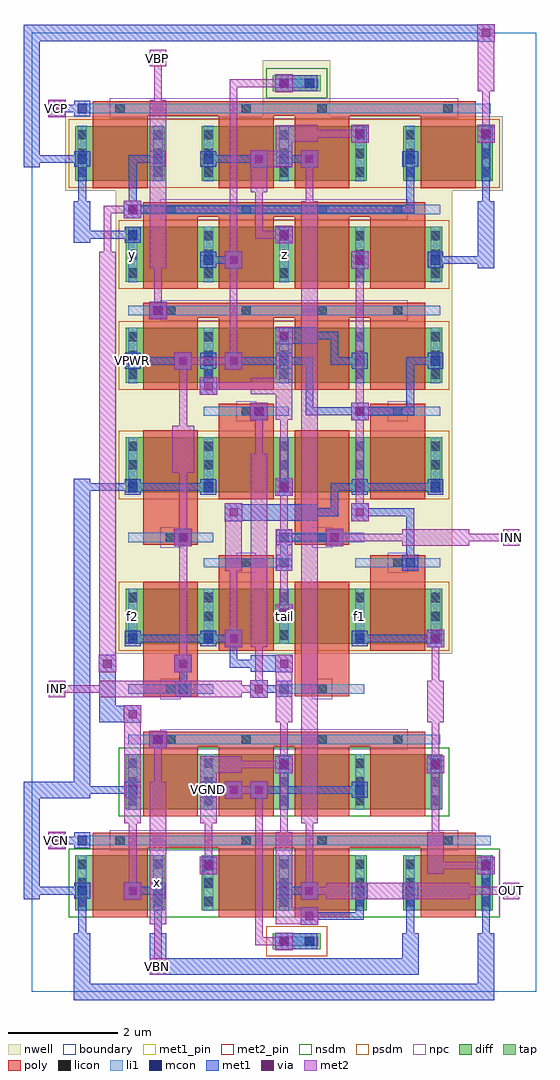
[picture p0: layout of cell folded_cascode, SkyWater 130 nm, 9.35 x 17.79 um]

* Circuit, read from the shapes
.subckt folded_cascode INN INP OUT VBN VBP VCN VCP VGND VPWR f1 f2 tail x y z
XM1 x VCN f1 VGND sky130_fd_pr__nfet_01v8 w=1 l=1 m=2
XM2 VGND VBN f1 VGND sky130_fd_pr__nfet_01v8 w=1 l=1 m=2
XM3 OUT VCN f2 VGND sky130_fd_pr__nfet_01v8 w=1 l=1 m=2
XM4 f2 VBN VGND VGND sky130_fd_pr__nfet_01v8 w=1 l=1 m=2
XM5 x VCP y VPWR sky130_fd_pr__pfet_01v8 w=1 l=1 m=2
XM6 f2 VPWR f2 VPWR sky130_fd_pr__pfet_01v8 w=1 l=1 m=2
XM7 f1 VPWR f1 VPWR sky130_fd_pr__pfet_01v8 w=1 l=1 m=2
XM8 tail VBP VPWR VPWR sky130_fd_pr__pfet_01v8 w=1 l=1 m=4
XM9 VPWR x y VPWR sky130_fd_pr__pfet_01v8 w=1 l=1 m=2
XM10 tail INN f2 VPWR sky130_fd_pr__pfet_01v8 w=1 l=1 m=2
XM11 tail INP f1 VPWR sky130_fd_pr__pfet_01v8 w=1 l=1 m=2
XM12 z x VPWR VPWR sky130_fd_pr__pfet_01v8 w=1 l=1 m=2
XM13 OUT VCP z VPWR sky130_fd_pr__pfet_01v8 w=1 l=1 m=2
.ends

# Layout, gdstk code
import gdstk
lib = gdstk.Library(unit=1e-6, precision=1e-09)
def R(c, l, rs):  # rectangles x0, y0, x1, y1
    for r in rs: c.add(gdstk.rectangle(r[:2], r[2:], *l))
def A(c, l, x, y, w, h, nx, ny, dx, dy):  # array of equal rectangles
    R(c, l, [(x+i*dx, y+j*dy, x+i*dx+w, y+j*dy+h) for i in range(nx) for j in range(ny)])
nwell = (64, 20)
diff = (65, 20)
tap = (65, 44)
poly = (66, 20)
licon = (66, 44)
li1 = (67, 20)
mcon = (67, 44)
met1_pin = (68, 16)
met1 = (68, 20)
via = (68, 44)
met2_pin = (69, 16)
met2 = (69, 20)
nsdm = (93, 44)
psdm = (94, 20)
npc = (95, 20)
boundary = (235, 4)

folded_cascode = lib.new_cell('folded_cascode')
R(folded_cascode, nwell, [(1.535,6.165,7.665,14.6), (0.615,14.6,8.585,15.96), (4.215,15.96,5.445,16.98)])
R(folded_cascode, diff, [(0.795,1.485,2.425,2.485), (3.095,1.485,6.105,2.485), (6.775,1.485,8.405,2.485), (1.715,3.325,7.485,4.325), (1.715,6.345,7.485,7.345), (1.715,9.105,7.485,10.105), (1.715,11.1,7.485,12.1), (1.715,12.94,7.485,13.94), (0.795,14.78,2.425,15.78), (3.095,14.78,6.105,15.78), (6.775,14.78,8.405,15.78)])
R(folded_cascode, tap, [(4.395,0.775,5.265,1.065), (4.395,16.415,5.265,16.705)])
A(folded_cascode, poly, 2.03, 3.195, 1, 1.405, 4, 1, 1.38, 0)
A(folded_cascode, poly, 2.03, 10.97, 1, 1.45, 4, 2, 1.38, 1.84)
R(folded_cascode, poly, [(1.11,1.355,2.11,2.76), (3.41,1.355,4.41,2.76), (4.79,1.355,5.79,2.76), (7.09,1.355,8.09,2.76), (1.11,2.625,8.09,2.895), (2.03,4.465,7.17,4.735), (2.03,5.385,3.03,5.655), (4.79,5.385,5.79,5.655), (2.03,5.52,3.03,7.475), (4.79,5.52,5.79,7.475), (3.41,6.215,4.41,7.82), (6.17,6.215,7.17,7.82), (3.41,7.685,4.41,7.955), (6.17,7.685,7.17,7.955), (2.03,8.145,3.03,8.415), (4.79,8.145,5.79,8.415), (2.03,8.28,3.03,10.235), (4.79,8.28,5.79,10.235), (3.41,8.975,4.41,10.58), (6.17,8.975,7.17,10.58), (3.41,10.445,4.41,10.715), (6.17,10.445,7.17,10.715), (2.03,12.285,7.17,12.555), (2.03,14.125,7.17,14.395), (1.11,14.65,2.11,16.1), (3.41,14.65,4.41,16.1), (4.79,14.65,5.79,16.1), (7.09,14.65,8.09,16.1), (1.11,15.965,8.09,16.235)])
A(folded_cascode, licon, 0.835, 1.56, 0.17, 0.17, 1, 3, 0, 0.34)
A(folded_cascode, licon, 2.215, 1.56, 0.17, 0.17, 1, 3, 0, 0.34)
A(folded_cascode, licon, 3.135, 1.56, 0.17, 0.17, 3, 3, 1.38, 0.34)
A(folded_cascode, licon, 6.815, 1.56, 0.17, 0.17, 1, 3, 0, 0.34)
A(folded_cascode, licon, 8.195, 1.56, 0.17, 0.17, 1, 3, 0, 0.34)
A(folded_cascode, licon, 5.205, 2.675, 0.17, 0.17, 1, 3, 0, 2.76)
A(folded_cascode, licon, 1.755, 3.4, 0.17, 0.17, 5, 3, 1.38, 0.34)
A(folded_cascode, licon, 2.445, 4.515, 0.17, 0.17, 4, 2, 1.38, 7.82)
A(folded_cascode, licon, 1.755, 6.42, 0.17, 0.17, 5, 3, 1.38, 0.34)
A(folded_cascode, licon, 1.755, 9.18, 0.17, 0.17, 5, 3, 1.38, 0.34)
A(folded_cascode, licon, 1.755, 11.175, 0.17, 0.17, 5, 3, 1.38, 0.34)
A(folded_cascode, licon, 1.755, 13.015, 0.17, 0.17, 5, 3, 1.38, 0.34)
A(folded_cascode, licon, 2.445, 14.175, 0.17, 0.17, 4, 1, 1.38, 0)
A(folded_cascode, licon, 0.835, 14.855, 0.17, 0.17, 1, 3, 0, 0.34)
A(folded_cascode, licon, 2.215, 14.855, 0.17, 0.17, 1, 3, 0, 0.34)
A(folded_cascode, licon, 3.135, 14.855, 0.17, 0.17, 3, 3, 1.38, 0.34)
A(folded_cascode, licon, 6.815, 14.855, 0.17, 0.17, 1, 3, 0, 0.34)
A(folded_cascode, licon, 8.195, 14.855, 0.17, 0.17, 1, 3, 0, 0.34)
R(folded_cascode, licon, [(4.515,0.835,4.685,1.005), (4.975,0.835,5.145,1.005), (1.525,2.675,1.695,2.845), (3.825,2.675,3.995,2.845), (7.505,2.675,7.675,2.845), (2.445,5.435,2.615,5.605), (3.825,7.735,3.995,7.905), (6.585,7.735,6.755,7.905), (2.445,8.195,2.615,8.365), (3.825,10.495,3.995,10.665), (6.585,10.495,6.755,10.665), (1.525,16.015,1.695,16.185), (3.825,16.015,3.995,16.185), (5.205,16.015,5.375,16.185), (7.505,16.015,7.675,16.185), (4.515,16.475,4.685,16.645), (4.975,16.475,5.145,16.645)])
A(folded_cascode, li1, 3.135, 1.48, 0.17, 1.01, 3, 2, 1.38, 13.295)
A(folded_cascode, li1, 1.755, 3.32, 0.17, 1.01, 5, 2, 1.38, 3.02)
A(folded_cascode, li1, 1.755, 9.1, 0.17, 1.01, 5, 2, 1.38, 1.995)
A(folded_cascode, li1, 1.755, 12.935, 0.17, 1.01, 5, 1, 1.38, 0)
R(folded_cascode, li1, [(4.435,0.835,5.225,1.005), (0.835,1.48,1.005,2.49), (2.215,1.48,2.385,2.49), (6.815,1.48,6.985,2.49), (8.195,1.48,8.365,2.49), (0.835,2.675,8.365,2.845), (1.755,4.515,7.445,4.685), (1.755,5.435,3.305,5.605), (4.515,5.435,6.065,5.605), (3.135,7.735,4.685,7.905), (5.895,7.735,7.445,7.905), (1.755,8.195,3.305,8.365), (4.515,8.195,6.065,8.365), (3.135,10.495,4.685,10.665), (5.895,10.495,7.445,10.665), (1.755,12.335,7.445,12.505), (1.755,14.175,7.445,14.345), (0.835,14.775,1.005,15.785), (2.215,14.775,2.385,15.785), (6.815,14.775,6.985,15.785), (8.195,14.775,8.365,15.785), (0.835,16.015,8.365,16.185), (4.435,16.475,5.225,16.645)])
A(folded_cascode, mcon, 4.515, 4.055, 0.17, 0.17, 1, 3, 0, 1.38)
A(folded_cascode, mcon, 1.755, 9.115, 0.17, 0.17, 5, 2, 1.38, 2.3)
A(folded_cascode, mcon, 4.515, 13.715, 0.17, 0.17, 1, 3, 0, 1.38)
R(folded_cascode, mcon, [(4.515,0.835,4.685,1.005), (4.975,0.835,5.145,1.005), (0.835,1.755,1.005,1.925), (2.215,1.755,2.385,1.925), (4.515,1.755,4.685,1.925), (5.895,1.755,6.065,1.925), (6.815,1.755,6.985,1.925), (3.135,2.215,3.305,2.385), (8.195,2.215,8.365,2.385), (0.835,2.675,1.005,2.845), (1.755,3.595,1.925,3.765), (3.135,3.595,3.305,3.765), (5.895,3.595,6.065,3.765), (7.275,4.055,7.445,4.225), (2.215,4.515,2.385,4.685), (2.675,5.435,2.845,5.605), (1.755,6.355,1.925,6.525), (3.135,6.355,3.305,6.525), (5.895,6.355,6.065,6.525), (7.275,6.355,7.445,6.525), (4.515,7.735,4.685,7.905), (6.815,7.735,6.985,7.905), (2.675,8.195,2.845,8.365), (4.515,8.195,4.685,8.365), (4.055,10.495,4.225,10.665), (5.895,10.495,6.065,10.665), (2.215,12.335,2.385,12.505), (3.135,13.255,3.305,13.425), (5.895,13.255,6.065,13.425), (7.275,13.255,7.445,13.425), (1.755,13.715,1.925,13.885), (1.755,14.175,1.925,14.345), (0.835,15.095,1.005,15.265), (2.215,15.095,2.385,15.265), (3.135,15.095,3.305,15.265), (6.815,15.095,6.985,15.265), (5.895,15.555,6.065,15.725), (8.195,15.555,8.365,15.725), (0.835,16.015,1.005,16.185), (4.975,16.475,5.145,16.645)])
R(folded_cascode, met1_pin, [(3.075,3.535,3.365,3.825), (1.695,11.355,1.985,11.645)])
A(folded_cascode, met1, 4.455, 3.995, 0.29, 0.29, 1, 3, 0, 1.38)
A(folded_cascode, met1, 1.695, 9.055, 0.29, 0.29, 5, 2, 1.38, 2.3)
R(folded_cascode, met1, [(0.77,-0.15,8.43,0.15), (0.77,-0.15,1.07,1.07), (8.13,-0.15,8.43,1.07), (2.15,0.31,7.05,0.61), (2.15,0.31,2.45,1.07), (6.75,0.31,7.05,1.07), (4.44,0.76,4.76,1.08), (4.455,0.775,5.205,1.065), (0.85,0.85,0.99,1.91), (2.23,0.85,2.37,1.91), (4.53,0.85,4.67,0.99), (6.83,0.85,6.97,1.91), (8.21,0.85,8.35,2.37), (4.9,1.22,5.22,1.54), (4.99,1.31,6.05,1.45), (5.91,1.31,6.05,1.91), (1.68,1.68,2,2), (4.9,1.68,5.22,2), (-0.15,1.69,0.15,3.83), (0.775,1.695,1.065,1.985), (2.155,1.695,2.445,1.985), (4.455,1.695,4.745,1.985), (5.835,1.695,6.125,1.985), (6.755,1.695,7.045,1.985), (-0.07,1.77,0.99,1.91), (1.77,1.77,2.37,1.91), (4.53,1.77,5.13,1.91), (3.06,2.14,3.38,2.46), (8.12,2.14,8.44,2.46), (3.075,2.155,3.365,2.445), (8.135,2.155,8.425,2.445), (0.3,2.6,0.62,2.92), (0.775,2.615,1.065,2.905), (0.39,2.69,0.99,2.83), (3.52,3.52,3.84,3.84), (3.98,3.52,4.3,3.84), (-0.15,3.53,1.07,3.83), (0.77,3.53,1.07,9.35), (1.695,3.535,1.985,3.825), (3.075,3.535,3.365,3.825), (5.835,3.535,6.125,3.825), (0.85,3.61,1.91,3.75), (3.15,3.61,3.75,3.75), (4.07,3.61,6.05,3.75), (4.44,3.98,4.76,4.3), (7.2,3.98,7.52,4.3), (7.215,3.995,7.505,4.285), (2.14,4.44,2.46,4.76), (2.155,4.455,2.445,4.745), (1.68,4.9,2,5.22), (1.23,4.91,1.99,5.21), (1.23,4.91,1.53,6.13), (3.98,5.36,4.3,5.68), (2.615,5.375,2.905,5.665), (2.69,5.45,2.83,6.05), (4.07,5.45,4.67,5.59), (1.22,5.82,1.54,6.14), (2.6,5.82,2.92,6.14), (4.44,5.82,4.76,6.14), (3.99,5.83,4.75,6.13), (3.61,5.91,4.21,6.05), (3.61,5.91,3.75,6.51), (3.52,6.28,3.84,6.6), (7.2,6.28,7.52,6.6), (1.695,6.295,1.985,6.585), (3.075,6.295,3.365,6.585), (5.835,6.295,6.125,6.585), (7.215,6.295,7.505,6.585), (1.77,6.37,3.29,6.51), (3.15,6.37,3.75,6.51), (5.91,6.37,7.43,6.51), (4.44,6.74,4.76,7.06), (4.455,7.675,4.745,7.965), (6.755,7.675,7.045,7.965), (4.53,7.75,4.67,8.35), (6.83,7.75,6.97,8.81), (2.6,8.12,2.92,8.44), (5.36,8.12,5.68,8.44), (2.615,8.135,2.905,8.425), (4.455,8.135,4.745,8.425), (4.53,8.21,5.59,8.35), (3.52,8.58,3.84,8.9), (5.82,8.58,6.14,8.9), (3.53,8.59,5.21,8.89), (4.99,8.67,5.59,8.81), (5.45,8.67,5.59,9.27), (5.91,8.67,6.97,8.81), (4.44,9.04,4.76,9.36), (0.85,9.13,1.91,9.27), (1.77,9.13,3.29,9.27), (5.45,9.13,6.05,9.27), (5.91,9.13,7.43,9.27), (3.98,10.42,4.3,10.74), (5.82,10.42,6.14,10.74), (3.995,10.435,4.285,10.725), (5.835,10.435,6.125,10.725), (4.99,10.51,6.05,10.65), (4.99,10.51,5.13,11.57), (5.91,10.51,6.97,10.65), (6.83,10.51,6.97,11.57), (3.06,10.88,3.38,11.2), (3.15,10.97,3.29,11.57), (2.6,11.34,2.92,11.66), (3.52,11.34,3.84,11.66), (1.77,11.43,2.83,11.57), (3.61,11.43,4.67,11.57), (4.53,11.43,5.13,11.57), (5.45,11.43,6.05,11.57), (5.45,11.43,5.59,12.03), (6.83,11.43,7.43,11.57), (4.44,11.8,4.76,12.12), (4.45,11.81,5.21,12.11), (4.99,11.89,5.59,12.03), (2.14,12.26,2.46,12.58), (2.155,12.275,2.445,12.565), (3.52,13.18,3.84,13.5), (5.82,13.18,6.14,13.5), (8.13,13.19,8.43,14.41), (3.075,13.195,3.365,13.485), (5.835,13.195,6.125,13.485), (7.215,13.195,7.505,13.485), (3.15,13.27,3.75,13.41), (7.29,13.27,8.35,13.41), (4.44,13.64,4.76,13.96), (0.77,13.65,1.07,14.41), (1.695,13.655,1.985,13.945), (4.455,13.655,4.745,13.945), (0.85,13.73,1.91,13.87), (1.68,14.1,2,14.42), (1.695,14.115,1.985,14.405), (0.85,14.19,0.99,15.25), (1.77,14.19,1.91,15.25), (1.77,14.19,6.97,14.33), (6.83,14.19,6.97,15.25), (8.21,14.19,8.35,15.71), (3.98,15.02,4.3,15.34), (4.9,15.02,5.22,15.34), (-0.15,15.03,0.15,17.63), (0.775,15.035,1.065,15.325), (2.155,15.035,2.445,15.325), (3.075,15.035,3.365,15.325), (4.455,15.035,4.745,15.325), (6.755,15.035,7.045,15.325), (-0.07,15.11,0.99,15.25), (1.77,15.11,2.37,15.25), (3.15,15.11,4.21,15.25), (4.53,15.11,5.13,15.25), (5.82,15.48,6.14,15.8), (8.12,15.48,8.44,15.8), (5.835,15.495,6.125,15.785), (8.135,15.495,8.425,15.785), (0.3,15.94,0.62,16.26), (0.775,15.955,1.065,16.245), (0.39,16.03,0.99,16.17), (4.44,16.4,4.76,16.72), (4.455,16.415,5.205,16.705), (4.53,16.49,4.67,16.63), (8.12,17.32,8.44,17.64), (-0.15,17.33,8.43,17.63)])
R(folded_cascode, via, [(4.525,0.845,4.675,0.995), (4.985,1.305,5.135,1.455), (1.765,1.765,1.915,1.915), (4.985,1.765,5.135,1.915), (3.145,2.225,3.295,2.375), (8.205,2.225,8.355,2.375), (0.385,2.685,0.535,2.835), (3.605,3.605,3.755,3.755), (4.065,3.605,4.215,3.755), (4.525,4.065,4.675,4.215), (7.285,4.065,7.435,4.215), (2.225,4.525,2.375,4.675), (1.765,4.985,1.915,5.135), (4.065,5.445,4.215,5.595), (1.305,5.905,1.455,6.055), (2.685,5.905,2.835,6.055), (4.525,5.905,4.675,6.055), (3.605,6.365,3.755,6.515), (7.285,6.365,7.435,6.515), (4.525,6.825,4.675,6.975), (2.685,8.205,2.835,8.355), (5.445,8.205,5.595,8.355), (3.605,8.665,3.755,8.815), (5.905,8.665,6.055,8.815), (4.525,9.125,4.675,9.275), (4.065,10.505,4.215,10.655), (5.905,10.505,6.055,10.655), (3.145,10.965,3.295,11.115), (2.685,11.425,2.835,11.575), (3.605,11.425,3.755,11.575), (4.525,11.885,4.675,12.035), (2.225,12.345,2.375,12.495), (3.605,13.265,3.755,13.415), (5.905,13.265,6.055,13.415), (4.525,13.725,4.675,13.875), (1.765,14.185,1.915,14.335), (4.065,15.105,4.215,15.255), (4.985,15.105,5.135,15.255), (5.905,15.565,6.055,15.715), (8.205,15.565,8.355,15.715), (0.385,16.025,0.535,16.175), (4.525,16.485,4.675,16.635), (8.205,17.405,8.355,17.555)])
R(folded_cascode, met2_pin, [(2.15,0.31,2.45,0.61), (8.59,1.69,8.89,1.99), (0.31,2.61,0.61,2.91), (0.31,5.37,0.61,5.67), (8.59,8.13,8.89,8.43), (0.31,15.95,0.61,16.25), (2.15,16.87,2.45,17.17)])
A(folded_cascode, met2, 4.07, 5.45, 0.14, 1.06, 1, 3, 0, 4.14)
R(folded_cascode, met2, [(2.15,0.31,2.45,0.61), (2.23,0.39,2.37,1.45), (2.23,0.39,2.37,0.53), (4.44,0.76,4.76,1.08), (4.07,0.85,4.67,0.99), (4.07,0.85,4.21,3.75), (4.9,1.22,5.22,1.54), (2.15,1.23,2.45,3.83), (4.45,1.23,5.21,1.53), (4.45,1.23,4.75,2.91), (1.68,1.68,2,2), (4.9,1.68,5.22,2), (5.37,1.69,7.97,1.99), (8.59,1.69,8.89,1.99), (1.77,1.77,1.91,3.29), (4.99,1.77,5.13,3.29), (4.99,1.77,5.59,1.91), (7.75,1.77,8.81,1.91), (8.67,1.77,8.81,1.91), (3.06,2.14,3.38,2.46), (8.12,2.14,8.44,2.46), (7.21,2.15,7.51,2.91), (3.15,2.23,3.29,3.29), (7.29,2.23,8.35,2.37), (0.3,2.6,0.62,2.92), (0.31,2.61,0.61,2.91), (0.39,2.69,0.53,2.83), (4.53,2.69,4.67,4.21), (7.29,2.69,7.43,4.21), (1.69,3.07,1.99,5.21), (3.07,3.07,3.37,4.29), (4.91,3.07,5.21,14.41), (3.52,3.52,3.84,3.84), (3.98,3.52,4.3,3.84), (2.23,3.61,2.37,4.67), (3.61,3.61,4.21,3.75), (4.44,3.98,4.76,4.3), (7.2,3.98,7.52,4.3), (3.07,3.99,3.83,4.29), (3.61,4.07,4.67,4.21), (4.53,4.07,4.67,5.13), (7.29,4.07,7.43,5.13), (2.14,4.44,2.46,4.76), (1.68,4.9,2,5.22), (4.45,4.91,4.75,6.13), (7.21,4.91,7.51,5.67), (3.98,5.36,4.3,5.68), (0.31,5.37,0.61,5.67), (1.23,5.37,3.83,5.67), (0.39,5.45,1.45,5.59), (0.39,5.45,0.53,5.59), (3.61,5.45,4.21,5.59), (7.29,5.45,7.43,6.51), (1.22,5.82,1.54,6.14), (2.6,5.82,2.92,6.14), (4.44,5.82,4.76,6.14), (1.23,5.83,1.53,13.49), (2.69,5.91,2.83,8.35), (3.52,6.28,3.84,6.6), (7.2,6.28,7.52,6.6), (3.99,6.29,4.29,9.81), (3.61,6.37,3.75,7.89), (4.44,6.74,4.76,7.06), (4.53,6.83,4.67,7.89), (3.53,7.67,3.83,8.89), (4.45,7.67,4.75,8.43), (2.6,8.12,2.92,8.44), (5.36,8.12,5.68,8.44), (6.75,8.13,7.97,8.43), (8.59,8.13,8.89,8.43), (2.69,8.21,2.83,9.73), (4.53,8.21,4.67,9.27), (5.45,8.21,6.97,8.35), (7.75,8.21,8.81,8.35), (8.67,8.21,8.81,8.35), (3.52,8.58,3.84,8.9), (5.82,8.58,6.14,8.9), (5.91,8.67,6.05,10.65), (4.44,9.04,4.76,9.36), (4.53,9.13,4.67,10.65), (2.56,9.46,2.96,10.32), (2.69,10.05,2.83,11.57), (3.98,10.42,4.3,10.74), (5.82,10.42,6.14,10.74), (4.45,10.43,4.75,11.19), (5.91,10.51,6.05,13.41), (3.06,10.88,3.38,11.2), (3.99,10.89,4.75,11.19), (4.45,10.89,4.75,12.11), (3.15,10.97,4.21,11.11), (2.6,11.34,2.92,11.66), (3.52,11.34,3.84,11.66), (2.69,11.43,3.75,11.57), (3.61,11.43,3.75,13.41), (4.44,11.8,4.76,12.12), (2.14,12.26,2.46,12.58), (2.23,12.35,2.37,13.41), (3.52,13.18,3.84,13.5), (5.82,13.18,6.14,13.5), (2.15,13.19,2.45,16.25), (1.31,13.27,1.45,14.33), (3.61,13.27,3.75,16.63), (4.44,13.64,4.76,13.96), (4.07,13.73,4.67,13.87), (1.68,14.1,2,14.42), (1.31,14.19,1.91,14.33), (4.99,14.19,5.13,15.25), (3.99,14.57,4.29,15.33), (3.98,15.02,4.3,15.34), (4.9,15.02,5.22,15.34), (3.99,15.03,4.75,15.33), (4.45,15.03,4.75,15.79), (5.82,15.48,6.14,15.8), (8.12,15.48,8.44,15.8), (4.45,15.49,5.21,15.79), (4.99,15.57,6.05,15.71), (8.21,15.57,8.35,16.63), (0.3,15.94,0.62,16.26), (0.31,15.95,0.61,16.25), (0.39,16.03,0.53,16.17), (2.23,16.03,2.37,17.09), (4.44,16.4,4.76,16.72), (8.13,16.41,8.43,17.63), (3.61,16.49,4.67,16.63), (2.15,16.87,2.45,17.17), (2.23,16.95,2.37,17.09), (8.12,17.32,8.44,17.64)])
R(folded_cascode, nsdm, [(0.67,1.36,8.53,2.61), (1.59,3.2,7.61,4.45), (4.27,16.29,5.39,16.83)])
R(folded_cascode, psdm, [(4.27,0.65,5.39,1.19), (1.59,6.22,7.61,7.47), (1.59,8.98,7.61,10.23), (1.59,10.975,7.61,12.225), (1.59,12.815,7.61,14.065), (0.67,14.655,8.53,15.905)])
R(folded_cascode, npc, [(1.425,2.575,7.775,2.945), (2.345,4.415,6.855,4.785), (2.345,5.335,2.715,5.705), (5.105,5.335,5.475,5.705), (3.725,7.635,4.095,8.005), (6.485,7.635,6.855,8.005), (2.345,8.095,2.715,8.465), (5.105,8.095,5.475,8.465), (3.725,10.395,4.095,10.765), (6.485,10.395,6.855,10.765), (2.345,12.235,6.855,12.605), (2.345,14.075,6.855,14.445), (1.425,15.915,7.775,16.285)])
R(folded_cascode, boundary, [(0,0,9.2,17.48)])
folded_cascode.add(gdstk.Label('f2', (1.84,6.845), layer=67, texttype=5))
folded_cascode.add(gdstk.Label('tail', (4.6,6.845), layer=67, texttype=5))
folded_cascode.add(gdstk.Label('f1', (5.98,6.845), layer=67, texttype=5))
folded_cascode.add(gdstk.Label('x', (2.3,1.985), layer=67, texttype=5))
folded_cascode.add(gdstk.Label('y', (1.84,13.44), layer=67, texttype=5))
folded_cascode.add(gdstk.Label('z', (4.6,13.44), layer=67, texttype=5))
folded_cascode.add(gdstk.Label('VPWR', (1.84,11.5), layer=68, texttype=5))
folded_cascode.add(gdstk.Label('VGND', (3.22,3.68), layer=68, texttype=5))
folded_cascode.add(gdstk.Label('INP', (0.46,5.52), layer=69, texttype=5))
folded_cascode.add(gdstk.Label('INN', (8.74,8.28), layer=69, texttype=5))
folded_cascode.add(gdstk.Label('VBP', (2.3,17.02), layer=69, texttype=5))
folded_cascode.add(gdstk.Label('VBN', (2.3,0.46), layer=69, texttype=5))
folded_cascode.add(gdstk.Label('VCN', (0.46,2.76), layer=69, texttype=5))
folded_cascode.add(gdstk.Label('VCP', (0.46,16.1), layer=69, texttype=5))
folded_cascode.add(gdstk.Label('OUT', (8.74,1.84), layer=69, texttype=5))
folded_cascode.add(gdstk.Label('VPWR', (1.84,11.5), layer=68, texttype=16))
folded_cascode.add(gdstk.Label('VGND', (3.22,3.68), layer=68, texttype=16))
folded_cascode.add(gdstk.Label('INP', (0.46,5.52), layer=69, texttype=16))
folded_cascode.add(gdstk.Label('INN', (8.74,8.28), layer=69, texttype=16))
folded_cascode.add(gdstk.Label('VBP', (2.3,17.02), layer=69, texttype=16))
folded_cascode.add(gdstk.Label('VBN', (2.3,0.46), layer=69, texttype=16))
folded_cascode.add(gdstk.Label('VCN', (0.46,2.76), layer=69, texttype=16))
folded_cascode.add(gdstk.Label('VCP', (0.46,16.1), layer=69, texttype=16))
folded_cascode.add(gdstk.Label('OUT', (8.74,1.84), layer=69, texttype=16))

lib.write_gds('folded_cascode.gds')
